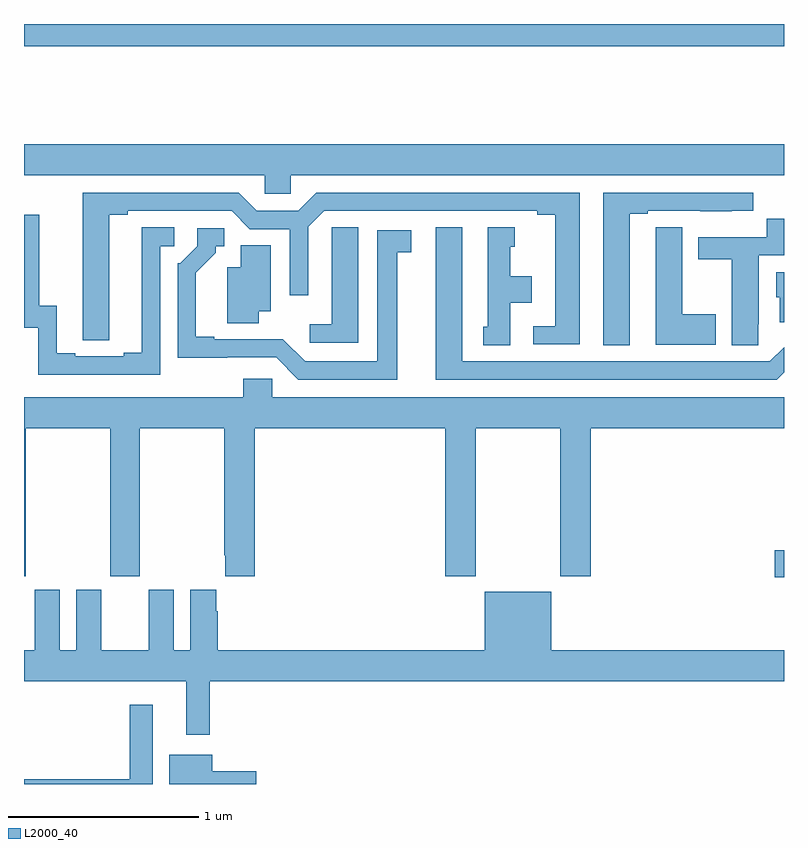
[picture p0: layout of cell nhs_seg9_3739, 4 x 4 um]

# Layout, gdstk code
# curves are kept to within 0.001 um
import gdstk
lib = gdstk.Library(unit=1e-6, precision=1e-09)
def R(c, l, rs):  # rectangles x0, y0, x1, y1
    for r in rs: c.add(gdstk.rectangle(r[:2], r[2:], *l))
def P(c, l, *ps):  # polygons
    for p in ps: c.add(gdstk.Polygon(p, *l))
L2000_40 = (2000, 40)

nhs_seg9_3739 = lib.new_cell('nhs_seg9_3739')
R(nhs_seg9_3739, L2000_40, [(326.952,1243.588,327,1243.73), (323,1246.384,327,1246.5)])
P(nhs_seg9_3739, L2000_40, [(324.405,1245.704),(327,1245.704),(327,1245.868),(323,1245.868),(323,1245.704),(324.267,1245.704),(324.267,1245.606),(324.405,1245.606)],
  [(325.924,1245.612),(324.539,1245.612),(324.443,1245.516),(324.225,1245.516),(324.129,1245.612),(323.309,1245.612),(323.31,1244.836),(323.449,1244.836),(323.449,1245.496),(323.545,1245.496),(323.545,1245.516),(324.093,1245.516),(324.189,1245.42),(324.399,1245.42),(324.399,1245.072),(324.495,1245.072),(324.495,1245.432),(324.579,1245.516),(325.7,1245.516),(325.7,1245.496),(325.796,1245.496),(325.796,1244.91),(325.68,1244.91),(325.68,1244.814),(325.924,1244.814)],
  [(326.188,1245.501),(326.284,1245.501),(326.284,1245.516),(326.56,1245.516),(326.56,1245.515),(326.726,1245.515),(326.726,1245.516),(326.839,1245.516),(326.839,1245.612),(326.048,1245.612),(326.048,1244.809),(326.188,1244.809)],
  [(323.718,1245.33),(323.791,1245.33),(323.791,1245.431),(323.621,1245.431),(323.621,1244.771),(323.525,1244.771),(323.525,1244.751),(323.269,1244.751),(323.269,1244.766),(323.173,1244.766),(323.173,1245.017),(323.079,1245.017),(323.079,1245.495),(323,1245.495),(323,1244.901),(323.076,1244.901),(323.076,1244.655),(323.718,1244.655)],
  [(326.865,1244.92),(326.866,1244.92),(326.866,1245.282),(327,1245.282),(327,1245.475),(326.908,1245.475),(326.908,1245.378),(326.549,1245.378),(326.549,1245.262),(326.726,1245.262),(326.726,1244.809),(326.865,1244.809)],
  [(326.641,1244.973),(326.464,1244.973),(326.464,1245.431),(326.325,1245.431),(326.325,1245.323),(326.324,1245.323),(326.324,1244.813),(326.641,1244.813)],
  [(324.76,1245.431),(324.621,1245.431),(324.621,1245.323),(324.62,1245.323),(324.62,1244.92),(324.504,1244.92),(324.504,1244.823),(324.76,1244.823)],
  [(325.558,1245.032),(325.672,1245.032),(325.672,1245.172),(325.558,1245.172),(325.558,1245.327),(325.582,1245.327),(325.582,1245.43),(325.442,1245.43),(325.442,1244.907),(325.418,1244.907),(325.418,1244.809),(325.558,1244.809)],
  [(327,1244.667),(327,1244.799),(326.925,1244.724),(325.306,1244.724),(325.306,1245.43),(325.166,1245.43),(325.166,1244.628),(326.961,1244.628)],
  [(324.964,1245.298),(325.039,1245.298),(325.039,1245.414),(324.86,1245.414),(324.86,1244.724),(324.48,1244.724),(324.362,1244.842),(324.001,1244.841),(324.001,1244.854),(323.905,1244.854),(323.905,1245.19),(324.01,1245.295),(324.01,1245.33),(324.055,1245.33),(324.055,1245.426),(323.913,1245.426),(323.913,1245.33),(323.823,1245.24),(323.808,1245.24),(323.808,1244.744),(324.327,1244.745),(324.444,1244.628),(324.964,1244.628)],
  [(324.235,1244.987),(324.298,1244.987),(324.298,1245.335),(324.14,1245.335),(324.14,1245.22),(324.071,1245.22),(324.071,1244.926),(324.235,1244.926)],
  [(327,1245.193),(326.96,1245.193),(326.96,1245.063),(326.978,1245.063),(326.978,1244.93),(327,1244.93)],
  [(323.01,1244.372),(323.455,1244.372),(323.455,1243.593),(323.61,1243.593),(323.61,1244.372),(324.055,1244.372),(324.055,1243.705),(324.059,1243.705),(324.059,1243.593),(324.215,1243.593),(324.215,1244.372),(325.217,1244.372),(325.217,1243.593),(325.377,1243.593),(325.377,1244.372),(325.822,1244.372),(325.822,1243.593),(325.982,1243.593),(325.982,1244.372),(327,1244.372),(327,1244.536),(324.306,1244.536),(324.306,1244.634),(324.155,1244.634),(324.155,1244.536),(323,1244.536),(323,1243.593),(323.01,1243.593)],
  [(323.977,1243.04),(327,1243.04),(327,1243.204),(325.774,1243.204),(325.774,1243.513),(325.424,1243.513),(325.424,1243.204),(324.02,1243.204),(324.02,1243.409),(324.013,1243.409),(324.013,1243.522),(323.876,1243.522),(323.876,1243.204),(323.788,1243.204),(323.788,1243.522),(323.657,1243.522),(323.657,1243.204),(323.407,1243.204),(323.407,1243.522),(323.276,1243.522),(323.276,1243.204),(323.188,1243.204),(323.188,1243.522),(323.057,1243.522),(323.057,1243.204),(323,1243.204),(323,1243.04),(323.855,1243.04),(323.855,1242.759),(323.977,1242.759)],
  [(323.677,1242.916),(323.556,1242.916),(323.556,1242.524),(323,1242.524),(323,1242.5),(323.677,1242.5)],
  [(324.223,1242.567),(323.992,1242.567),(323.992,1242.655),(323.765,1242.655),(323.765,1242.5),(324.223,1242.5)])

lib.write_gds('nhs_seg9_3739.gds')
